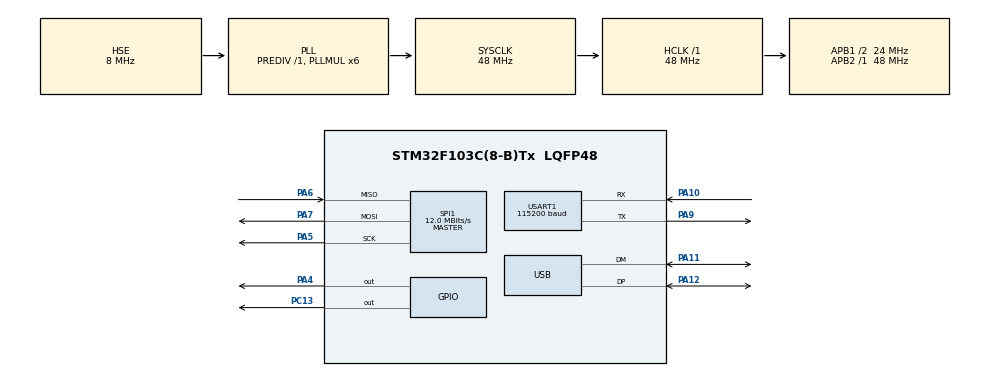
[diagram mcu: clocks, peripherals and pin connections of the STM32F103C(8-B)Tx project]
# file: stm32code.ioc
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Mcu.Family=STM32F1
Mcu.Name=STM32F103C(8-B)Tx
Mcu.Package=LQFP48
NVIC.PriorityGroup=NVIC_PRIORITYGROUP_4
NVIC.USART1_IRQn=true\:0\:0\:false\:false\:true\:true\:true
NVIC.USB_LP_CAN1_RX0_IRQn=true\:0\:0\:false\:false\:true\:false\:true
PA10.Mode=Asynchronous
PA10.Signal=USART1_RX
PA11.Mode=Device
PA11.Signal=USB_DM
PA12.Mode=Device
PA12.Signal=USB_DP
PA13.Mode=Serial_Wire
PA13.Signal=SYS_JTMS-SWDIO
PA14.Mode=Serial_Wire
PA14.Signal=SYS_JTCK-SWCLK
PA4.GPIO_Speed=GPIO_SPEED_FREQ_MEDIUM
PA4.Signal=GPIO_Output
PA5.Mode=Full_Duplex_Master
PA5.Signal=SPI1_SCK
PA6.Mode=Full_Duplex_Master
PA6.Signal=SPI1_MISO
PA7.Mode=Full_Duplex_Master
PA7.Signal=SPI1_MOSI
PA9.Mode=Asynchronous
PA9.Signal=USART1_TX
PC13-TAMPER-RTC.GPIO_Speed=GPIO_SPEED_FREQ_MEDIUM
PC13-TAMPER-RTC.Signal=GPIO_Output
PD0-OSC_IN.Mode=HSE-External-Oscillator
PD0-OSC_IN.Signal=RCC_OSC_IN
PD1-OSC_OUT.Mode=HSE-External-Oscillator
PD1-OSC_OUT.Signal=RCC_OSC_OUT
ProjectManager.HeapSize=0x200
ProjectManager.StackSize=0x400
ProjectManager.TargetToolchain=TrueSTUDIO
RCC.AHBFreq_Value=48000000
RCC.APB1CLKDivider=RCC_HCLK_DIV2
RCC.APB1Freq_Value=24000000
RCC.APB1TimFreq_Value=48000000
RCC.APB2Freq_Value=48000000
RCC.APB2TimFreq_Value=48000000
RCC.HCLKFreq_Value=48000000
RCC.PLLMUL=RCC_PLL_MUL6
RCC.PLLSourceVirtual=RCC_PLLSOURCE_HSE
RCC.SYSCLKFreq_VALUE=48000000
RCC.SYSCLKSource=RCC_SYSCLKSOURCE_PLLCLK
RCC.USBFreq_Value=48000000
SPI1.BaudRatePrescaler=SPI_BAUDRATEPRESCALER_4
SPI1.CalculateBaudRate=12.0 MBits/s
SPI1.Direction=SPI_DIRECTION_2LINES
SPI1.Mode=SPI_MODE_MASTER
SPI1.VirtualType=VM_MASTER
USART1.BaudRate=115200
USART1.VirtualMode=VM_ASYNC
USB_DEVICE.CLASS_NAME_FS=CDC
USB_DEVICE.VirtualMode=Cdc
USB_DEVICE.VirtualModeFS=Cdc_FS
VP_USB_DEVICE_VS_USB_DEVICE_CDC_FS.Mode=CDC_FS
board=custom

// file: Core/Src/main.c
/* USER CODE BEGIN Header */
/**
 *
  ******************************************************************************
  * @file           : main.c
  * @brief          : Main program body
  ******************************************************************************
  * @attention
  *
  * <h2><center>&copy; Copyright (c) 2020 STMicroelectronics.
  * All rights reserved.</center></h2>
  *
  * This software component is licensed by ST under BSD 3-Clause license,
  * the "License"; You may not use this file except in compliance with the
  * License. You may obtain a copy of the License at:
  *                        opensource.org/licenses/BSD-3-Clause
  *
  ******************************************************************************
  */
/* USER CODE END Header */
#include "main.h"
#include "usb_device.h"

/* USER CODE BEGIN Includes */
#include "net.h"
#include "enc28j60.h"
#include "usbd_cdc_if.h"
/* USER CODE END Includes */

SPI_HandleTypeDef hspi1;

UART_HandleTypeDef huart1;

/* USER CODE BEGIN PV */
uint8_t net_buf[MAX_FRAMELEN];
uint8_t usb_buf[USB_BUFSIZE];
uint8_t packet_buf[MAX_FRAMELEN];

//current position in usb_buf
uint32_t pos_int = 0; //usb callback

//array of positions in usb_buf, when the packet is received,
//it is written into usb_buf circularly and new pointer to the next free pos to array_pos circularly
uint32_t array_pos[USB_POINTERS_ARRAY_SIZE];
uint32_t p_a = 0; //position in array of positions (updated in interrupt)
uint32_t pl_a = 0; //local position in array_pos

/* USER CODE END PV */

void SystemClock_Config(void);
static void MX_GPIO_Init(void);
static void MX_SPI1_Init(void);
static void MX_USART1_UART_Init(void);

/* USER CODE BEGIN 0 */

uint8_t sign_buf[6];

/**
 * Copy usb buffer to packet buffer
 *
 */
void copy_buf(uint8_t *to, uint8_t *from_usb_buf, uint8_t *base_usb_buf, int16_t len){
	if(len <= 0)
		return;
	uint16_t offset = from_usb_buf - base_usb_buf;
	if(offset > USB_BUFSIZE) //should not be
		return;
	uint16_t new_pos = offset + len;
	uint8_t split = 0;
	if (new_pos > USB_BUFSIZE){
		split = 1;
	}
	if(split){
		int len1 = USB_BUFSIZE - offset;
		int len2 = len - len1;
		memcpy(to, from_usb_buf, len1);
		memcpy(to + len1, base_usb_buf, len2);
	}
	else
		memcpy(to, from_usb_buf, len);
}
/**
 * Read 32 bit data from circular usb buffer
 */
uint32_t read32(uint8_t *from_usb_buf, uint8_t *base_usb_buf){
	uint32_t value;
	copy_buf((uint8_t *)&value, from_usb_buf, base_usb_buf, 4);
	return value;
}
/**
 * Read 16 bit data from circular usb buffer
 */
uint16_t read16(uint8_t *from_usb_buf, uint8_t *base_usb_buf){
	uint16_t value;
	copy_buf((uint8_t *)&value, from_usb_buf, base_usb_buf, 2);
	return value;
}
/**
 * Calculate pointer into usb buffer len bytes from the current
 */
uint8_t *next_usb_ptr(uint8_t *from_usb_buf, uint8_t *base_usb_buf, int16_t len){
	uint8_t *limit = base_usb_buf + USB_BUFSIZE;
	uint8_t *p = from_usb_buf + len;
	if (p >= limit)
		return base_usb_buf + (p - limit);
	else
		return p;
}

/* USER CODE END 0 */

int main(void)
{

  /* MCU Configuration--------------------------------------------------------*/

  /* Reset of all peripherals, Initializes the Flash interface and the Systick. */
  HAL_Init();

  /* Configure the system clock */
  SystemClock_Config();

  /* Initialize all configured peripherals */
  MX_GPIO_Init();
  MX_SPI1_Init();
  MX_USART1_UART_Init();
  MX_USB_DEVICE_Init();
  /* USER CODE BEGIN 2 */
  *((uint32_t*)sign_buf) = PACKET_START_SIGN;
  net_ini();

  /* USER CODE END 2 */

  /* Infinite loop */
  /* USER CODE BEGIN WHILE */

  uint16_t packet_len = 0;
  uint16_t packet_size = 0;
  uint8_t *packet_next_ptr;
  uint8_t packet_start = 1;

  while (1)
  {
	  /* There are packets from usb buf to read and send to ethernet */
	  if(pl_a < p_a){
		  uint32_t prev = 0;
		  if(pl_a > 0)
			  prev = array_pos[(pl_a - 1) % USB_POINTERS_ARRAY_SIZE];
		  int32_t n = array_pos[pl_a % USB_POINTERS_ARRAY_SIZE] - prev;//usb frame size
		  uint8_t *from = usb_buf + prev % USB_BUFSIZE;
		  uint8_t right_n = 1;
		  if (n < 0 || n > MAX_FRAMELEN){
			  right_n = 0;
		  }

		  // new ethernet packet
		  if((packet_len == 0) && packet_start && (n > 5) && right_n){
			  uint32_t sign = read32(from,usb_buf); //4 bytes
			  uint8_t *next = next_usb_ptr(from,usb_buf,4);
			  packet_size = read16(next,usb_buf);// 2 bytes after sign is packet length

			  if (packet_size > MAX_FRAMELEN || sign != PACKET_START_SIGN){
				  packet_size = 0;
			  }
			  else{
				  next = next_usb_ptr(from,usb_buf,6);
				  copy_buf(packet_buf, next, usb_buf, n - 6);
				  packet_len = n - 6;
				  packet_next_ptr = packet_buf + packet_len;
				  packet_start = 0;
			  }

		  }
		  else if(packet_len < packet_size && right_n){
			  //make sure packet_len + n < packet_buf size!!!
			  copy_buf(packet_next_ptr, from, usb_buf, n);
			  packet_len += n;
			  packet_next_ptr = packet_buf + packet_len;
		  }
		  else if (packet_len > packet_size){
			  packet_len = 0;
			  packet_start = 1;
		  }

		  /* Send ready packet to ethernet */
		  if(packet_len == packet_size && packet_size > 0){
			  enc28j60_packetSend(packet_buf, packet_size);
			  packet_len = 0;
			  packet_start = 1;
		  }

		  pl_a++;

	  }

	  uint16_t len=enc28j60_packetReceive(net_buf,sizeof(net_buf));

	  /* There is data from ethernet, send it to USB */
	  if (len>0)
	  {
		  *((uint16_t*)(sign_buf + 4)) = len;
		  while(CDC_Transmit_FS(sign_buf, sizeof(sign_buf)) == USBD_BUSY_CDC_TRANSMIT);
		  while(CDC_Transmit_FS(net_buf, len) == USBD_BUSY_CDC_TRANSMIT);
		  HAL_GPIO_TogglePin(GPIOC, GPIO_PIN_13);
	  }

    /* USER CODE END WHILE */

  }
}

void SystemClock_Config(void)
{
  RCC_OscInitTypeDef RCC_OscInitStruct = {0};
  RCC_ClkInitTypeDef RCC_ClkInitStruct = {0};
  RCC_PeriphCLKInitTypeDef PeriphClkInit = {0};

  /** Initializes the RCC Oscillators according to the specified parameters
  * in the RCC_OscInitTypeDef structure.
  */
  RCC_OscInitStruct.OscillatorType = RCC_OSCILLATORTYPE_HSE;
  RCC_OscInitStruct.HSEState = RCC_HSE_ON;
  RCC_OscInitStruct.HSEPredivValue = RCC_HSE_PREDIV_DIV1;
  RCC_OscInitStruct.HSIState = RCC_HSI_ON;
  RCC_OscInitStruct.PLL.PLLState = RCC_PLL_ON;
  RCC_OscInitStruct.PLL.PLLSource = RCC_PLLSOURCE_HSE;
  RCC_OscInitStruct.PLL.PLLMUL = RCC_PLL_MUL6;
  if (HAL_RCC_OscConfig(&RCC_OscInitStruct) != HAL_OK)
  {
    Error_Handler();
  }
  /** Initializes the CPU, AHB and APB buses clocks
  */
  RCC_ClkInitStruct.ClockType = RCC_CLOCKTYPE_HCLK|RCC_CLOCKTYPE_SYSCLK
                              |RCC_CLOCKTYPE_PCLK1|RCC_CLOCKTYPE_PCLK2;
  RCC_ClkInitStruct.SYSCLKSource = RCC_SYSCLKSOURCE_PLLCLK;
  RCC_ClkInitStruct.AHBCLKDivider = RCC_SYSCLK_DIV1;
  RCC_ClkInitStruct.APB1CLKDivider = RCC_HCLK_DIV2;
  RCC_ClkInitStruct.APB2CLKDivider = RCC_HCLK_DIV1;

  if (HAL_RCC_ClockConfig(&RCC_ClkInitStruct, FLASH_LATENCY_1) != HAL_OK)
  {
    Error_Handler();
  }
  PeriphClkInit.PeriphClockSelection = RCC_PERIPHCLK_USB;
  PeriphClkInit.UsbClockSelection = RCC_USBCLKSOURCE_PLL;
  if (HAL_RCCEx_PeriphCLKConfig(&PeriphClkInit) != HAL_OK)
  {
    Error_Handler();
  }
}

static void MX_SPI1_Init(void)
{

  /* SPI1 parameter configuration*/
  hspi1.Instance = SPI1;
  hspi1.Init.Mode = SPI_MODE_MASTER;
  hspi1.Init.Direction = SPI_DIRECTION_2LINES;
  hspi1.Init.DataSize = SPI_DATASIZE_8BIT;
  hspi1.Init.CLKPolarity = SPI_POLARITY_LOW;
  hspi1.Init.CLKPhase = SPI_PHASE_1EDGE;
  hspi1.Init.NSS = SPI_NSS_SOFT;
  hspi1.Init.BaudRatePrescaler = SPI_BAUDRATEPRESCALER_4;
  hspi1.Init.FirstBit = SPI_FIRSTBIT_MSB;
  hspi1.Init.TIMode = SPI_TIMODE_DISABLE;
  hspi1.Init.CRCCalculation = SPI_CRCCALCULATION_DISABLE;
  hspi1.Init.CRCPolynomial = 10;
  if (HAL_SPI_Init(&hspi1) != HAL_OK)
  {
    Error_Handler();
  }

}

static void MX_USART1_UART_Init(void)
{

  huart1.Instance = USART1;
  huart1.Init.BaudRate = 115200;
  huart1.Init.WordLength = UART_WORDLENGTH_8B;
  huart1.Init.StopBits = UART_STOPBITS_1;
  huart1.Init.Parity = UART_PARITY_NONE;
  huart1.Init.Mode = UART_MODE_TX_RX;
  huart1.Init.HwFlowCtl = UART_HWCONTROL_NONE;
  huart1.Init.OverSampling = UART_OVERSAMPLING_16;
  if (HAL_UART_Init(&huart1) != HAL_OK)
  {
    Error_Handler();
  }

}

static void MX_GPIO_Init(void)
{
  GPIO_InitTypeDef GPIO_InitStruct = {0};

  /* GPIO Ports Clock Enable */
  __HAL_RCC_GPIOC_CLK_ENABLE();
  __HAL_RCC_GPIOD_CLK_ENABLE();
  __HAL_RCC_GPIOA_CLK_ENABLE();

  /*Configure GPIO pin Output Level */
  HAL_GPIO_WritePin(GPIOC, GPIO_PIN_13, GPIO_PIN_RESET);

  /*Configure GPIO pin Output Level */
  HAL_GPIO_WritePin(GPIOA, GPIO_PIN_4, GPIO_PIN_RESET);

  /*Configure GPIO pin : PC13 */
  GPIO_InitStruct.Pin = GPIO_PIN_13;
  GPIO_InitStruct.Mode = GPIO_MODE_OUTPUT_PP;
  GPIO_InitStruct.Pull = GPIO_NOPULL;
  GPIO_InitStruct.Speed = GPIO_SPEED_FREQ_MEDIUM;
  HAL_GPIO_Init(GPIOC, &GPIO_InitStruct);

  /*Configure GPIO pin : PA4 */
  GPIO_InitStruct.Pin = GPIO_PIN_4;
  GPIO_InitStruct.Mode = GPIO_MODE_OUTPUT_PP;
  GPIO_InitStruct.Pull = GPIO_NOPULL;
  GPIO_InitStruct.Speed = GPIO_SPEED_FREQ_MEDIUM;
  HAL_GPIO_Init(GPIOA, &GPIO_InitStruct);

}

void Error_Handler(void)
{
}

/************************ (C) COPYRIGHT STMicroelectronics *****END OF FILE****/
